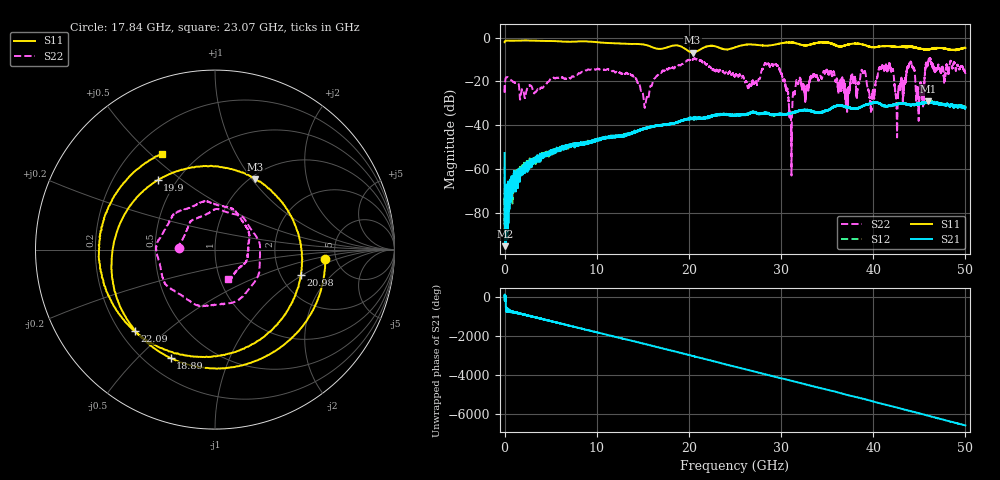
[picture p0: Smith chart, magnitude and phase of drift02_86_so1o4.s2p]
!Created with skrf (http://scikit-rf.org).
# Hz S RI R 50.0
!freq ReS11 ImS11 ReS21 ImS21 ReS12 ImS12 ReS22 ImS22
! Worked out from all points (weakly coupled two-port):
!   10001 points, 300 kHz to 50 GHz, reference 50 ohm
!   highest |S21| = -29.09 dB at 45.97 GHz (marker M1); lowest = -95.0 dB at 50.3 MHz (marker M2)
!   lowest |S11| = -6.9 dB at 20.4 GHz (marker M3), VSWR 2.64, Z = 52.8 + j51.7 ohm
!   |S11| at or under -10 dB: nowhere
!   |S22| runs from -62.8 to -9.3 dB; largest |S21 - S12| = 0.0035
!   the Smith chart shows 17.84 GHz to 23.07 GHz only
!   S11 on the Smith chart (normalised r, x): 17.84 GHz: 4.09, -0.69; 18.89 GHz: 0.30, -0.63; 19.9 GHz: 0.40, +0.41; 20.98 GHz: 2.58, -0.96; 22.09 GHz: 0.26, -0.39; 23.07 GHz: 0.32, +0.54
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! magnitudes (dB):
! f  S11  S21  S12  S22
! 300 kHz  -2.1  -52.6  -58.8  -21.7
! 50.3 MHz  -1.6  -95.0  -78.2  -20.6
! 8.335 GHz  -1.7  -48.6  -48.8  -15.7
! 15.33 GHz  -3.4  -41.4  -41.2  -29.3
! 16.67 GHz  -5.2  -40.1  -39.9  -17.0
! 17.84 GHz  -4.2  -39.5  -39.5  -13.9
! 18.89 GHz  -3.7  -38.4  -38.3  -12.5
! 19.9 GHz  -6.0  -37.0  -37.0  -10.2
! 20.4 GHz  -6.9  -37.1  -36.8  -10.0
! 20.98 GHz  -6.0  -36.8  -36.4  -9.7
! 22.09 GHz  -3.9  -36.0  -36.5  -12.7
! 23.07 GHz  -4.3  -35.1  -35.2  -14.9
! 25 GHz  -4.5  -35.2  -35.2  -17.5
! 29.52 GHz  -3.1  -35.1  -35.0  -12.6
! 31.03 GHz  -2.3  -34.5  -34.7  -34.2
! 33.34 GHz  -3.0  -33.6  -33.5  -18.1
! 38.92 GHz  -3.2  -31.1  -31.0  -16.1
! 39.87 GHz  -4.4  -29.9  -29.9  -27.7
! 41.67 GHz  -3.9  -31.0  -31.1  -13.3
! 42.6 GHz  -4.3  -30.4  -30.0  -42.5
! 45.97 GHz  -5.4  -29.1  -29.4  -10.5
! 50 GHz  -4.8  -31.6  -32.0  -16.0
